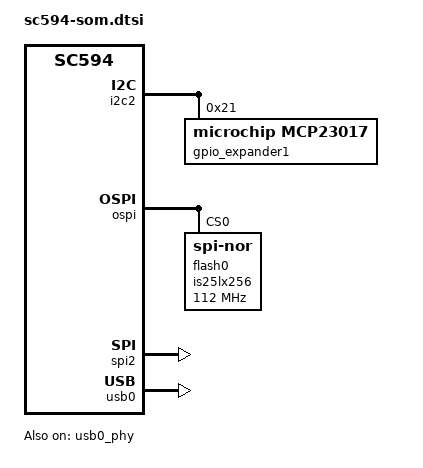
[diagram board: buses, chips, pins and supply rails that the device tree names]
// SPDX-License-Identifier: GPL-2.0-or-later
/*
 * (C) Copyright 2022 - Analog Devices, Inc.
 *
 * Written and/or maintained by Timesys Corporation
 *
 * Contact: Nathan Barrett-Morrison <nathan.morrison@timesys.com>
 * Contact: Greg Malysa <greg.malysa@timesys.com>
 */

/dts-v1/;

#include "sc5xx.dtsi"
#include "sc59x.dtsi"

&timer0 {
	clocks = <&clk ADSP_SC594_CLK_CGU0_SCLK0>;
};

&pinctrl0 {
	soc_defaults: soc_pins {
		bootph-all;
		adi,pins = <ADI_ADSP_PIN('A', 14) ADI_ADSP_PINFUNC_ALT0>, /* i2c */
		       <ADI_ADSP_PIN('A', 15) ADI_ADSP_PINFUNC_ALT0>,
		       <ADI_ADSP_PIN('F', 2) ADI_ADSP_PINFUNC_ALT0>, /* emmc */
		       <ADI_ADSP_PIN('F', 3) ADI_ADSP_PINFUNC_ALT0>,
		       <ADI_ADSP_PIN('F', 4) ADI_ADSP_PINFUNC_ALT0>,
		       <ADI_ADSP_PIN('F', 5) ADI_ADSP_PINFUNC_ALT0>,
		       <ADI_ADSP_PIN('F', 6) ADI_ADSP_PINFUNC_ALT0>,
		       <ADI_ADSP_PIN('F', 7) ADI_ADSP_PINFUNC_ALT0>,
		       <ADI_ADSP_PIN('F', 8) ADI_ADSP_PINFUNC_ALT0>,
		       <ADI_ADSP_PIN('F', 9) ADI_ADSP_PINFUNC_ALT0>,
		       <ADI_ADSP_PIN('F', 10) ADI_ADSP_PINFUNC_ALT0>,
		       <ADI_ADSP_PIN('F', 11) ADI_ADSP_PINFUNC_ALT0>,
		       <ADI_ADSP_PIN('F', 12) ADI_ADSP_PINFUNC_ALT0>;
	};

	ospi_default: ospi_pins {
		bootph-all;
		adi,pins = <ADI_ADSP_PIN('C', 8) ADI_ADSP_PINFUNC_ALT0>,
		       <ADI_ADSP_PIN('C', 9) ADI_ADSP_PINFUNC_ALT0>,
		       <ADI_ADSP_PIN('C', 10) ADI_ADSP_PINFUNC_ALT0>,
		       <ADI_ADSP_PIN('C', 11) ADI_ADSP_PINFUNC_ALT0>,
		       <ADI_ADSP_PIN('C', 12) ADI_ADSP_PINFUNC_ALT0>,
		       <ADI_ADSP_PIN('C', 13) ADI_ADSP_PINFUNC_ALT0>,
		       <ADI_ADSP_PIN('C', 14) ADI_ADSP_PINFUNC_ALT0>,
		       <ADI_ADSP_PIN('C', 15) ADI_ADSP_PINFUNC_ALT0>,
		       <ADI_ADSP_PIN('D', 0) ADI_ADSP_PINFUNC_ALT0>,
		       <ADI_ADSP_PIN('D', 1) ADI_ADSP_PINFUNC_ALT0>,
		       <ADI_ADSP_PIN('D', 4) ADI_ADSP_PINFUNC_ALT2>;
	};
};

&clk{
	compatible = "adi,sc594-clocks";
};

&uart0{
	clocks = <&clk ADSP_SC594_CLK_CGU0_SCLK0>;
};

&wdog{
	clocks = <&clk ADSP_SC594_CLK_CGU0_SCLK0>;
};

&i2c0{
	clocks = <&clk ADSP_SC594_CLK_CGU0_SCLK0>;
};

&i2c1{
	clocks = <&clk ADSP_SC594_CLK_CGU0_SCLK0>;
};

&i2c2{
	clocks = <&clk ADSP_SC594_CLK_CGU0_SCLK0>;

	gpio_expander1: mcp23017@21 {
		compatible = "microchip,mcp23017";
		reg = <0x21>;
		gpio-controller;
		#gpio-cells = <2>;
		bootph-all;

		led1 {
			gpio-hog;
			gpios = <0 GPIO_ACTIVE_HIGH>;
			output-high;
			line-name = "led1-en";
			bootph-all;
		};

		led2 {
			gpio-hog;
			gpios = <1 GPIO_ACTIVE_HIGH>;
			output-high;
			line-name = "led2-en";
			bootph-all;
		};

		led3 {
			gpio-hog;
			gpios = <2 GPIO_ACTIVE_HIGH>;
			output-high;
			line-name = "led3-en";
			bootph-all;
		};

		spi2flash-cs {
			gpio-hog;
			gpios = <3 GPIO_ACTIVE_HIGH>;
			output-low;
			line-name = "~spi2flash-cs";
			bootph-all;
		};

		spi2d2-d3 {
			gpio-hog;
			gpios = <4 GPIO_ACTIVE_HIGH>;
			output-low;
			line-name = "~spi2d2-d3-en";
			bootph-all;
		};

		uart0 {
			gpio-hog;
			gpios = <5 GPIO_ACTIVE_HIGH>;
			output-low;
			line-name = "~uart0-en";
			bootph-all;
		};

		uart0-flow-en {
			gpio-hog;
			gpios = <6 GPIO_ACTIVE_HIGH>;
			output-high;
			line-name = "~uart0-flow-en";
			bootph-all;
		};

		ospiflash-cs {
			gpio-hog;
			gpios = <7 GPIO_ACTIVE_HIGH>;
			output-low;
			line-name = "~ospiflash-cs";
			bootph-all;
		};
	};
};

&ospi {
	status = "okay";

	clocks = <&clk ADSP_SC594_CLK_OSPI>;

	flash0: is25lx256@0 {
		#address-cells = <1>;
		#size-cells = <1>;
		compatible = "jedec,spi-nor", "is25lx256";
		reg = <0>;
		spi-max-frequency = <112000000>;
		tshsl-ns = <50>;
		tsd2d-ns = <50>;
		tchsh-ns = <4>;
		tslch-ns = <4>;
		bootph-all;
	};
};

&spi2 {
	status = "okay";

	clocks = <&clk ADSP_SC594_CLK_SPI>;
};

&usb0_phy {
	status = "okay";
};

&usb0 {
	status = "okay";
};
